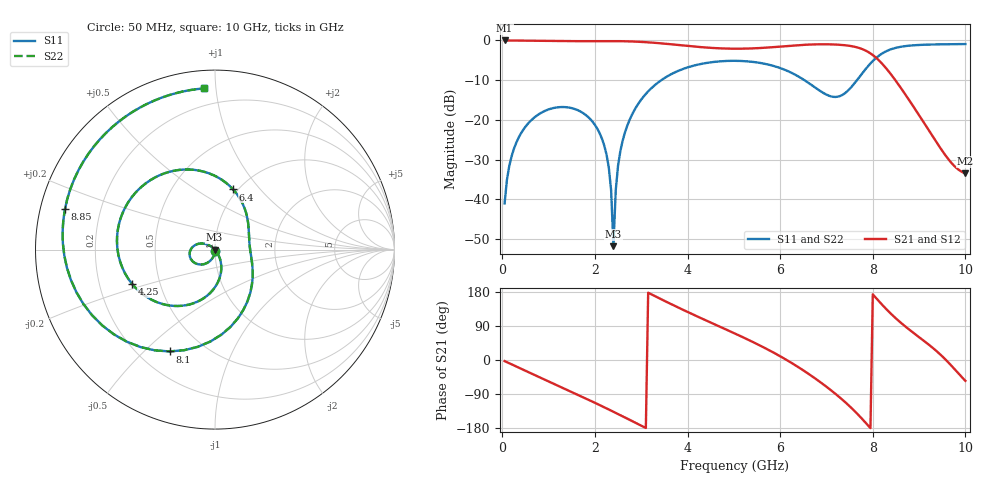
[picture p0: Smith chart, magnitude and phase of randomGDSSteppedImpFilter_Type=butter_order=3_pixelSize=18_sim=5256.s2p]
! freq	dB(S11)	phase(S11)	dB(S12)	phase(S12)
!  dB(S21)	phase(S21)	dB(S22)	phase(S22)
!S-par simulation data
#  GHz  S  DB  R 50
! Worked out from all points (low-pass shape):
!   200 points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, 50 MHz to 10 GHz, reference 50 ohm
!   highest |S21| = -0.01 dB at 50 MHz (marker M1); lowest = -33.5 dB at 10 GHz (marker M2)
!   |S21| within 3 dB of the highest: start of sweep to 7.914 GHz
!   lowest |S11| = -51.8 dB at 2.4 GHz (marker M3), VSWR 1.01, Z = 49.8 - j0.0883 ohm
!   |S11| at or under -10 dB: start of sweep to 3.434 GHz; 6.523 GHz to 7.659 GHz (1.136 GHz wide, 16 % of centre)
!   |S22| runs from -52.7 to -0.9 dB; largest |S21 - S12| = 0
!   S11 on the Smith chart (normalised r, x): 50 MHz: 1.00, -0.02; 4.25 GHz: 0.34, -0.18; 6.4 GHz: 0.95, +0.73; 8.1 GHz: 0.33, -0.60; 8.85 GHz: 0.07, +0.13; 10 GHz: 0.10, +0.93
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0.05  -41.01 -91.5  -0.01 -2.9  -0.01 -2.9  -41.01 -91.5
0.2  -29.19 -101.3  -0.02 -11.4  -0.02 -11.4  -29.19 -101.3
0.55  -21.01 -121.7  -0.08 -31.2  -0.08 -31.2  -21.01 -121.7
1.75  -18.33 171.0  -0.18 -98.6  -0.18 -98.6  -18.33 170.9
2.25  -28.69 143.7  -0.16 -127.6  -0.16 -127.6  -28.69 143.1
2.35  -37.73 142.1  -0.16 -133.6  -0.16 -133.6  -37.76 140.3
2.4  -51.79 -159.9  -0.16 -136.6  -0.16 -136.6  -52.72 -166.8
2.45  -37.69 -57.3  -0.17 -139.6  -0.17 -139.6  -37.71 -55.4
2.6  -25.18 -61.2  -0.19 -148.7  -0.19 -148.7  -25.18 -60.7
3.4  -10.28 -108.7  -0.70 162.2  -0.70 162.2  -10.28 -108.6
4.25  -6.02 -157.6  -1.65 112.7  -1.65 112.7  -6.02 -157.6
5.05  -5.13 158.6  -2.08 68.3  -2.08 68.3  -5.13 158.7
5.75  -6.09 117.7  -1.77 26.6  -1.77 26.6  -6.09 117.7
6.4  -9.12 73.3  -1.19 -19.4  -1.19 -19.4  -9.12 73.3
6.7  -11.40 50.1  -1.01 -43.9  -1.01 -43.9  -11.40 50.1
7.35  -13.67 -12.2  -1.15 -105.4  -1.15 -105.4  -13.68 -12.4
7.75  -8.62 -64.6  -2.08 -152.8  -2.08 -152.8  -8.62 -64.7
8.1  -4.14 -114.0  -4.66 159.5  -4.66 159.5  -4.14 -114.0
8.35  -2.42 -146.1  -7.89 127.1  -7.89 127.1  -2.42 -146.2
8.85  -1.25 165.0  -16.15 74.3  -16.15 74.3  -1.25 165.0
9.4  -0.99 127.0  -26.05 21.0  -26.05 21.0  -0.99 127.0
10  -0.91 93.8  -33.49 -54.9  -33.49 -54.9  -0.91 93.8
